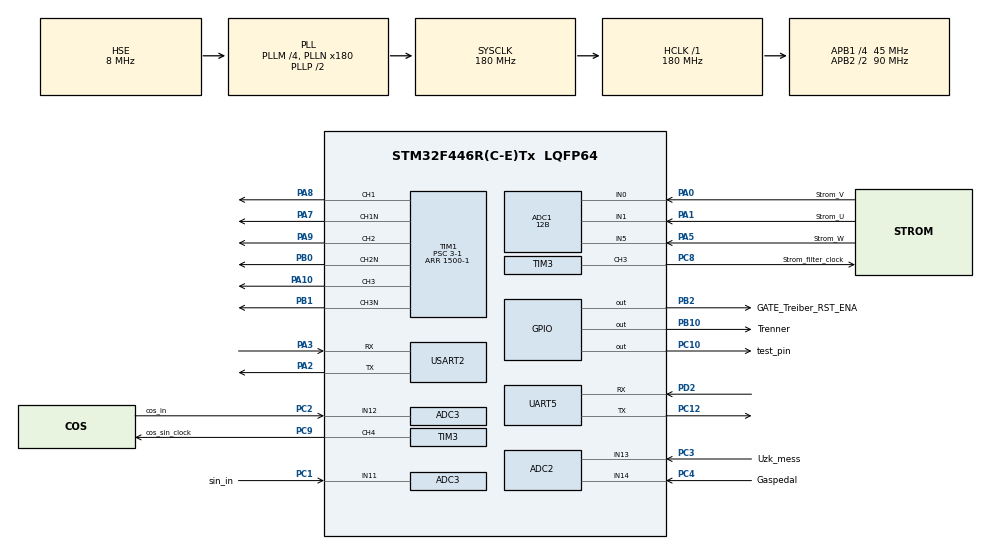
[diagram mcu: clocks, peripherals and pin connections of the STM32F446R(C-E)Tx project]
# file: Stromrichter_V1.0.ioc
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ADC1.Channel-0\#ChannelRegularConversion=ADC_CHANNEL_1
ADC1.Channel-1\#ChannelRegularConversion=ADC_CHANNEL_0
ADC1.Channel-2\#ChannelRegularConversion=ADC_CHANNEL_5
ADC1.ClockPrescaler=ADC_CLOCK_SYNC_PCLK_DIV4
ADC1.EOCSelection=ADC_EOC_SEQ_CONV
ADC1.ExternalTrigConv=ADC_SOFTWARE_START
ADC1.NbrOfConversion=3
ADC1.NbrOfConversionFlag=1
ADC1.Rank-0\#ChannelRegularConversion=1
ADC1.Rank-1\#ChannelRegularConversion=2
ADC1.Rank-2\#ChannelRegularConversion=3
ADC1.Resolution=ADC_RESOLUTION_12B
ADC1.SamplingTime-0\#ChannelRegularConversion=ADC_SAMPLETIME_3CYCLES
ADC1.SamplingTime-1\#ChannelRegularConversion=ADC_SAMPLETIME_3CYCLES
ADC1.SamplingTime-2\#ChannelRegularConversion=ADC_SAMPLETIME_3CYCLES
ADC1.ScanConvMode=ENABLE
ADC1.master=1
ADC2.Channel-2\#ChannelRegularConversion=ADC_CHANNEL_13
ADC2.Channel-3\#ChannelRegularConversion=ADC_CHANNEL_14
ADC2.EOCSelection=ADC_EOC_SEQ_CONV
ADC2.NbrOfConversion=2
ADC2.NbrOfConversionFlag=1
ADC2.Rank-2\#ChannelRegularConversion=1
ADC2.Rank-3\#ChannelRegularConversion=2
ADC2.SamplingTime-2\#ChannelRegularConversion=ADC_SAMPLETIME_480CYCLES
ADC2.SamplingTime-3\#ChannelRegularConversion=ADC_SAMPLETIME_480CYCLES
ADC3.Channel-0\#ChannelRegularConversion=ADC_CHANNEL_11
ADC3.Channel-1\#ChannelRegularConversion=ADC_CHANNEL_12
ADC3.EOCSelection=ADC_EOC_SEQ_CONV
ADC3.NbrOfConversion=2
ADC3.NbrOfConversionFlag=1
ADC3.Rank-0\#ChannelRegularConversion=1
ADC3.Rank-1\#ChannelRegularConversion=2
ADC3.SamplingTime-0\#ChannelRegularConversion=ADC_SAMPLETIME_144CYCLES
ADC3.SamplingTime-1\#ChannelRegularConversion=ADC_SAMPLETIME_144CYCLES
ADC3.ScanConvMode=ENABLE
Dma.ADC1.0.Direction=DMA_PERIPH_TO_MEMORY
Dma.ADC1.0.FIFOMode=DMA_FIFOMODE_DISABLE
Dma.ADC1.0.Instance=DMA2_Stream0
Dma.ADC1.0.MemDataAlignment=DMA_MDATAALIGN_WORD
Dma.ADC1.0.MemInc=DMA_MINC_ENABLE
Dma.ADC1.0.Mode=DMA_NORMAL
Dma.ADC1.0.PeriphDataAlignment=DMA_PDATAALIGN_WORD
Dma.ADC1.0.PeriphInc=DMA_PINC_DISABLE
Dma.ADC1.0.Priority=DMA_PRIORITY_VERY_HIGH
Dma.ADC2.4.Direction=DMA_PERIPH_TO_MEMORY
Dma.ADC2.4.FIFOMode=DMA_FIFOMODE_DISABLE
Dma.ADC2.4.Instance=DMA2_Stream2
Dma.ADC2.4.MemDataAlignment=DMA_MDATAALIGN_WORD
Dma.ADC2.4.MemInc=DMA_MINC_ENABLE
Dma.ADC2.4.Mode=DMA_NORMAL
Dma.ADC2.4.PeriphDataAlignment=DMA_PDATAALIGN_WORD
Dma.ADC2.4.PeriphInc=DMA_PINC_DISABLE
Dma.ADC2.4.Priority=DMA_PRIORITY_LOW
Dma.ADC3.3.Direction=DMA_PERIPH_TO_MEMORY
Dma.ADC3.3.FIFOMode=DMA_FIFOMODE_DISABLE
Dma.ADC3.3.Instance=DMA2_Stream1
Dma.ADC3.3.MemDataAlignment=DMA_MDATAALIGN_WORD
Dma.ADC3.3.MemInc=DMA_MINC_ENABLE
Dma.ADC3.3.Mode=DMA_NORMAL
Dma.ADC3.3.PeriphDataAlignment=DMA_PDATAALIGN_WORD
Dma.ADC3.3.PeriphInc=DMA_PINC_DISABLE
Dma.ADC3.3.Priority=DMA_PRIORITY_LOW
Dma.Request0=ADC1
Dma.Request1=USART2_TX
Dma.Request2=USART2_RX
Dma.Request3=ADC3
Dma.Request4=ADC2
Dma.USART2_RX.2.Direction=DMA_PERIPH_TO_MEMORY
Dma.USART2_RX.2.FIFOMode=DMA_FIFOMODE_DISABLE
Dma.USART2_RX.2.Instance=DMA1_Stream5
Dma.USART2_RX.2.MemDataAlignment=DMA_MDATAALIGN_BYTE
Dma.USART2_RX.2.MemInc=DMA_MINC_ENABLE
Dma.USART2_RX.2.Mode=DMA_CIRCULAR
Dma.USART2_RX.2.PeriphDataAlignment=DMA_PDATAALIGN_BYTE
Dma.USART2_RX.2.PeriphInc=DMA_PINC_DISABLE
Dma.USART2_RX.2.Priority=DMA_PRIORITY_LOW
Dma.USART2_TX.1.Direction=DMA_MEMORY_TO_PERIPH
Dma.USART2_TX.1.FIFOMode=DMA_FIFOMODE_DISABLE
Dma.USART2_TX.1.Instance=DMA1_Stream6
Dma.USART2_TX.1.MemDataAlignment=DMA_MDATAALIGN_BYTE
Dma.USART2_TX.1.MemInc=DMA_MINC_ENABLE
Dma.USART2_TX.1.Mode=DMA_NORMAL
Dma.USART2_TX.1.PeriphDataAlignment=DMA_PDATAALIGN_BYTE
Dma.USART2_TX.1.PeriphInc=DMA_PINC_DISABLE
Dma.USART2_TX.1.Priority=DMA_PRIORITY_LOW
Mcu.Family=STM32F4
Mcu.Name=STM32F446R(C-E)Tx
Mcu.Package=LQFP64
NVIC.ADC_IRQn=true\:0\:0\:false\:false\:true\:true\:true\:true
NVIC.DMA1_Stream5_IRQn=true\:0\:0\:false\:false\:true\:false\:true\:true
NVIC.DMA1_Stream6_IRQn=true\:0\:0\:false\:false\:true\:false\:true\:true
NVIC.DMA2_Stream0_IRQn=true\:0\:0\:true\:false\:true\:false\:true\:true
NVIC.DMA2_Stream1_IRQn=true\:0\:0\:false\:false\:true\:false\:true\:true
NVIC.DMA2_Stream2_IRQn=true\:0\:0\:false\:false\:true\:false\:true\:true
NVIC.PriorityGroup=NVIC_PRIORITYGROUP_4
NVIC.TIM1_UP_TIM10_IRQn=true\:0\:0\:true\:false\:true\:true\:true\:true
NVIC.TIM8_TRG_COM_TIM14_IRQn=true\:3\:0\:true\:false\:true\:true\:true\:true
NVIC.USART2_IRQn=true\:2\:0\:true\:false\:true\:true\:true\:true
PA0-WKUP.GPIO_Label=Strom_V
PA0-WKUP.Signal=ADCx_IN0
PA1.GPIO_Label=Strom_U
PA1.Signal=ADCx_IN1
PA10.Signal=S_TIM1_CH3
PA2.Mode=Asynchronous
PA2.Signal=USART2_TX
PA3.Mode=Asynchronous
PA3.Signal=USART2_RX
PA5.GPIO_Label=Strom_W
PA5.Signal=ADCx_IN5
PA7.Mode=PWM Generation1 CH1 CH1N
PA7.Signal=TIM1_CH1N
PA8.Signal=S_TIM1_CH1
PA9.Signal=S_TIM1_CH2
PB0.Mode=PWM Generation2 CH2 CH2N
PB0.Signal=TIM1_CH2N
PB1.Mode=PWM Generation3 CH3 CH3N
PB1.Signal=TIM1_CH3N
PB10.GPIO_Label=Trenner
PB10.Signal=GPIO_Output
PB2.GPIO_Label=GATE_Treiber_RST_ENA
PB2.Signal=GPIO_Output
PC1.GPIO_Label=sin_in
PC1.Signal=ADCx_IN11
PC10.GPIO_Label=test_pin
PC10.Signal=GPIO_Output
PC12.Mode=Asynchronous
PC12.Signal=UART5_TX
PC2.GPIO_Label=cos_in
PC2.Signal=ADCx_IN12
PC3.GPIO_Label=Uzk_mess
PC3.Signal=ADCx_IN13
PC4.GPIO_Label=Gaspedal
PC4.Signal=ADCx_IN14
PC8.GPIO_Label=Strom_filter_clock
PC8.Signal=S_TIM3_CH3
PC9.GPIO_Label=cos_sin_clock
PC9.Signal=S_TIM3_CH4
PD2.Mode=Asynchronous
PD2.Signal=UART5_RX
PH0-OSC_IN.Mode=HSE-External-Oscillator
PH0-OSC_IN.Signal=RCC_OSC_IN
PH1-OSC_OUT.Mode=HSE-External-Oscillator
PH1-OSC_OUT.Signal=RCC_OSC_OUT
ProjectManager.HeapSize=0x200
ProjectManager.StackSize=0x400
ProjectManager.TargetToolchain=STM32CubeIDE
RCC.AHBFreq_Value=180000000
RCC.APB1CLKDivider=RCC_HCLK_DIV4
RCC.APB1Freq_Value=45000000
RCC.APB1TimFreq_Value=90000000
RCC.APB2CLKDivider=RCC_HCLK_DIV2
RCC.APB2Freq_Value=90000000
RCC.APB2TimFreq_Value=180000000
RCC.CortexFreq_Value=180000000
RCC.HCLKFreq_Value=180000000
RCC.HSE_VALUE=8000000
RCC.PLLM=4
RCC.PLLN=180
RCC.PLLSourceVirtual=RCC_PLLSOURCE_HSE
RCC.SYSCLKFreq_VALUE=180000000
RCC.SYSCLKSource=RCC_SYSCLKSOURCE_PLLCLK
RCC.USBFreq_Value=180000000
RCC.VCOOutputFreq_Value=360000000
SH.ADCx_IN0.0=ADC1_IN0,IN0
SH.ADCx_IN1.0=ADC1_IN1,IN1
SH.ADCx_IN11.0=ADC2_IN11
SH.ADCx_IN11.1=ADC3_IN11,IN11
SH.ADCx_IN12.0=ADC2_IN12
SH.ADCx_IN12.1=ADC3_IN12,IN12
SH.ADCx_IN13.0=ADC2_IN13,IN13
SH.ADCx_IN14.0=ADC2_IN14,IN14
SH.ADCx_IN5.0=ADC1_IN5,IN5
SH.S_TIM1_CH1.0=TIM1_CH1,PWM Generation1 CH1 CH1N
SH.S_TIM1_CH2.0=TIM1_CH2,PWM Generation2 CH2 CH2N
SH.S_TIM1_CH3.0=TIM1_CH3,PWM Generation3 CH3 CH3N
SH.S_TIM3_CH3.0=TIM3_CH3,PWM Generation3 CH3
SH.S_TIM3_CH4.0=TIM3_CH4,PWM Generation4 CH4
TIM1.Channel-PWM\ Generation1\ CH1\ CH1N=TIM_CHANNEL_1
TIM1.Channel-PWM\ Generation2\ CH2\ CH2N=TIM_CHANNEL_2
TIM1.Channel-PWM\ Generation3\ CH3\ CH3N=TIM_CHANNEL_3
TIM1.CounterMode=TIM_COUNTERMODE_CENTERALIGNED1
TIM1.DeadTime=210
TIM1.Period=1500-1
TIM1.Prescaler=3-1
TIM1.RepetitionCounter=1
TIM14.Period=2500-1
TIM14.Prescaler=1800-1
TIM3.Channel-PWM\ Generation3\ CH3=TIM_CHANNEL_3
TIM3.Channel-PWM\ Generation4\ CH4=TIM_CHANNEL_4
TIM3.Period=30-1
TIM3.Prescaler=3-1
TIM3.Pulse-PWM\ Generation3\ CH3=10-1
TIM3.Pulse-PWM\ Generation4\ CH4=10-1
UART5.VirtualMode=Asynchronous
USART2.VirtualMode=VM_ASYNC
VP_TIM14_VS_ClockSourceINT.Mode=Enable_Timer
VP_TIM1_VS_ClockSourceINT.Mode=Internal
VP_TIM3_VS_ClockSourceINT.Mode=Internal
board=custom

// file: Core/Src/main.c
/* USER CODE BEGIN Header */
/**
  ******************************************************************************
  * @file           : main.c
  * @brief          : Main program body
  ******************************************************************************
  * @attention
  *
  * Copyright (c) 2023 STMicroelectronics.
  * All rights reserved.
  *
  * This software is licensed under terms that can be found in the LICENSE file
  * in the root directory of this software component.
  * If no LICENSE file comes with this software, it is provided AS-IS.
  *
  ******************************************************************************
  */
/* USER CODE END Header */
#include "main.h"

/* USER CODE BEGIN Includes */
#include "math.h"
  //####################################################################################################
//hier werden alle variablen für die strommesung um den adc1 intialisiert
#include "adc1_var_init.h"
  //####################################################################################################
//hier werden alle variablen für den Endcoder um den adc3 intialisiert
#include "adc3_endcoder_var.h"

  //####################################################################################################
//THIPWM libary
#include "THIPWM/THIPWM.h"
  //####################################################################################################
//importiere regulungstechnik lib
#include "Regelungstechnik_lib/Regelungstechnik.h"
  //####################################################################################################
//importiere transfarmationen
#include "Clark_Transformation/Clark_Transformation.h"
  //####################################################################################################
#include "regler_transformationen_var.h"
  //####################################################################################################
// hier werden alle variablen die für die Kommunikation mit dem PC benötigt werden definiert
#include "uart2_var_init.h"

/* USER CODE END Includes */

ADC_HandleTypeDef hadc1;
ADC_HandleTypeDef hadc2;
ADC_HandleTypeDef hadc3;
DMA_HandleTypeDef hdma_adc1;
DMA_HandleTypeDef hdma_adc2;
DMA_HandleTypeDef hdma_adc3;

TIM_HandleTypeDef htim1;
TIM_HandleTypeDef htim3;
TIM_HandleTypeDef htim14;

UART_HandleTypeDef huart5;
UART_HandleTypeDef huart2;
DMA_HandleTypeDef hdma_usart2_tx;
DMA_HandleTypeDef hdma_usart2_rx;

void SystemClock_Config(void);
static void MX_GPIO_Init(void);
static void MX_DMA_Init(void);
static void MX_ADC1_Init(void);
static void MX_TIM1_Init(void);
static void MX_UART5_Init(void);
static void MX_USART2_UART_Init(void);
static void MX_TIM3_Init(void);
static void MX_ADC3_Init(void);
static void MX_ADC2_Init(void);
static void MX_TIM14_Init(void);

int main(void)
{

  /* MCU Configuration--------------------------------------------------------*/

  /* Reset of all peripherals, Initializes the Flash interface and the Systick. */
  HAL_Init();

  /* Configure the system clock */
  SystemClock_Config();

  /* Initialize all configured peripherals */
  MX_GPIO_Init();
  MX_DMA_Init();
  MX_ADC1_Init();
  MX_ADC3_Init();
  MX_ADC2_Init();
  MX_TIM1_Init();
  MX_UART5_Init();
  MX_USART2_UART_Init();
  MX_TIM3_Init();

  MX_TIM14_Init();
  /* USER CODE BEGIN 2 */
  //####################################################################################################
  //THIPWM init
  setupTHIMPWM(pwm_periode, &THIPWM);
  //####################################################################################################
  //transformationen init
  init_clark(&Clark);
  //####################################################################################################
  //Regler init
  config_PID(&Regler_alpha, Kr, T_pwm, Tn, Tv);
  config_PID(&Regler_beta, Kr, T_pwm, Tn, Tv);
  config_PDT1(&filter_alpha, T_pwm, T1_PDT1, T2_PDT1, 1.0f);
  config_PDT1(&filter_beta, T_pwm, T1_PDT1, T2_PDT1, 1.0f);

  //####################################################################################################
  config_PT1(&offset_corrc_U, PT1_offset_K, PT1_offset_T);
  config_PT1(&offset_corrc_V, PT1_offset_K, PT1_offset_T);
  config_PT1(&offset_corrc_W, PT1_offset_K, PT1_offset_T);
  config_didt_p(&di_dt_schutz, di_dt_max);

  config_PT1(&theta_is_filter, 1, 0.1f);
  //####################################################################################################
  //Starten aller timer Channels für die PWM
  //####################################################################################################
  HAL_TIM_PWM_Start(&htim1, TIM_CHANNEL_1);
  HAL_TIM_PWM_Start(&htim1, TIM_CHANNEL_2);
  HAL_TIM_PWM_Start(&htim1, TIM_CHANNEL_3);
  HAL_TIMEx_PWMN_Start(&htim1, TIM_CHANNEL_1);
  HAL_TIMEx_PWMN_Start(&htim1, TIM_CHANNEL_2);
  HAL_TIMEx_PWMN_Start(&htim1, TIM_CHANNEL_3);
  HAL_TIM_Base_Start_IT(&htim1);

  config_PT1(&omega_filter, 1, 0.1f);

  /* USER CODE END 2 */

  /* Infinite loop */
  /* USER CODE BEGIN WHILE */
  while (1)
  {
	  enable = (0x1 & status) & !di_dt_schutz.error;
	  trenner = status>>1 & 0x1;

	  HAL_GPIO_WritePin(Trenner_GPIO_Port, Trenner_Pin, trenner);
	  HAL_GPIO_WritePin(GATE_Treiber_RST_ENA_GPIO_Port, GATE_Treiber_RST_ENA_Pin, enable);

	  if(di_dt_schutz.error && !(0x1 & status)){
		  di_dt_schutz.error=0;
	  }

    /* USER CODE END WHILE */

  }
}

void SystemClock_Config(void)
{
  RCC_OscInitTypeDef RCC_OscInitStruct = {0};
  RCC_ClkInitTypeDef RCC_ClkInitStruct = {0};

  /** Configure the main internal regulator output voltage
  */
  __HAL_RCC_PWR_CLK_ENABLE();
  __HAL_PWR_VOLTAGESCALING_CONFIG(PWR_REGULATOR_VOLTAGE_SCALE1);

  /** Initializes the RCC Oscillators according to the specified parameters
  * in the RCC_OscInitTypeDef structure.
  */
  RCC_OscInitStruct.OscillatorType = RCC_OSCILLATORTYPE_HSE;
  RCC_OscInitStruct.HSEState = RCC_HSE_ON;
  RCC_OscInitStruct.PLL.PLLState = RCC_PLL_ON;
  RCC_OscInitStruct.PLL.PLLSource = RCC_PLLSOURCE_HSE;
  RCC_OscInitStruct.PLL.PLLM = 4;
  RCC_OscInitStruct.PLL.PLLN = 180;
  RCC_OscInitStruct.PLL.PLLP = RCC_PLLP_DIV2;
  RCC_OscInitStruct.PLL.PLLQ = 2;
  RCC_OscInitStruct.PLL.PLLR = 2;
  if (HAL_RCC_OscConfig(&RCC_OscInitStruct) != HAL_OK)
  {
    Error_Handler();
  }

  /** Activate the Over-Drive mode
  */
  if (HAL_PWREx_EnableOverDrive() != HAL_OK)
  {
    Error_Handler();
  }

  /** Initializes the CPU, AHB and APB buses clocks
  */
  RCC_ClkInitStruct.ClockType = RCC_CLOCKTYPE_HCLK|RCC_CLOCKTYPE_SYSCLK
                              |RCC_CLOCKTYPE_PCLK1|RCC_CLOCKTYPE_PCLK2;
  RCC_ClkInitStruct.SYSCLKSource = RCC_SYSCLKSOURCE_PLLCLK;
  RCC_ClkInitStruct.AHBCLKDivider = RCC_SYSCLK_DIV1;
  RCC_ClkInitStruct.APB1CLKDivider = RCC_HCLK_DIV4;
  RCC_ClkInitStruct.APB2CLKDivider = RCC_HCLK_DIV2;

  if (HAL_RCC_ClockConfig(&RCC_ClkInitStruct, FLASH_LATENCY_5) != HAL_OK)
  {
    Error_Handler();
  }
}

static void MX_ADC1_Init(void)
{

  ADC_ChannelConfTypeDef sConfig = {0};

  /* USER CODE BEGIN ADC1_Init 1 */
  //####################################################################################################
  //ADC NUR für die Strommessung U V W
  //####################################################################################################
  /* USER CODE END ADC1_Init 1 */

  /** Configure the global features of the ADC (Clock, Resolution, Data Alignment and number of conversion)
  */
  hadc1.Instance = ADC1;
  hadc1.Init.ClockPrescaler = ADC_CLOCK_SYNC_PCLK_DIV4;
  hadc1.Init.Resolution = ADC_RESOLUTION_12B;
  hadc1.Init.ScanConvMode = ENABLE;
  hadc1.Init.ContinuousConvMode = DISABLE;
  hadc1.Init.DiscontinuousConvMode = DISABLE;
  hadc1.Init.ExternalTrigConvEdge = ADC_EXTERNALTRIGCONVEDGE_NONE;
  hadc1.Init.ExternalTrigConv = ADC_SOFTWARE_START;
  hadc1.Init.DataAlign = ADC_DATAALIGN_RIGHT;
  hadc1.Init.NbrOfConversion = 3;
  hadc1.Init.DMAContinuousRequests = DISABLE;
  hadc1.Init.EOCSelection = ADC_EOC_SEQ_CONV;
  if (HAL_ADC_Init(&hadc1) != HAL_OK)
  {
    Error_Handler();
  }

  /** Configure for the selected ADC regular channel its corresponding rank in the sequencer and its sample time.
  */
  sConfig.Channel = ADC_CHANNEL_1;
  sConfig.Rank = 1;
  sConfig.SamplingTime = ADC_SAMPLETIME_3CYCLES;
  if (HAL_ADC_ConfigChannel(&hadc1, &sConfig) != HAL_OK)
  {
    Error_Handler();
  }

  /** Configure for the selected ADC regular channel its corresponding rank in the sequencer and its sample time.
  */
  sConfig.Channel = ADC_CHANNEL_0;
  sConfig.Rank = 2;
  if (HAL_ADC_ConfigChannel(&hadc1, &sConfig) != HAL_OK)
  {
    Error_Handler();
  }

  /** Configure for the selected ADC regular channel its corresponding rank in the sequencer and its sample time.
  */
  sConfig.Channel = ADC_CHANNEL_5;
  sConfig.Rank = 3;
  if (HAL_ADC_ConfigChannel(&hadc1, &sConfig) != HAL_OK)
  {
    Error_Handler();
  }

}

static void MX_ADC2_Init(void)
{

  ADC_ChannelConfTypeDef sConfig = {0};

  /** Configure the global features of the ADC (Clock, Resolution, Data Alignment and number of conversion)
  */
  hadc2.Instance = ADC2;
  hadc2.Init.ClockPrescaler = ADC_CLOCK_SYNC_PCLK_DIV4;
  hadc2.Init.Resolution = ADC_RESOLUTION_12B;
  hadc2.Init.ScanConvMode = ENABLE;
  hadc2.Init.ContinuousConvMode = DISABLE;
  hadc2.Init.DiscontinuousConvMode = DISABLE;
  hadc2.Init.ExternalTrigConvEdge = ADC_EXTERNALTRIGCONVEDGE_NONE;
  hadc2.Init.ExternalTrigConv = ADC_SOFTWARE_START;
  hadc2.Init.DataAlign = ADC_DATAALIGN_RIGHT;
  hadc2.Init.NbrOfConversion = 2;
  hadc2.Init.DMAContinuousRequests = DISABLE;
  hadc2.Init.EOCSelection = ADC_EOC_SEQ_CONV;
  if (HAL_ADC_Init(&hadc2) != HAL_OK)
  {
    Error_Handler();
  }

  /** Configure for the selected ADC regular channel its corresponding rank in the sequencer and its sample time.
  */
  sConfig.Channel = ADC_CHANNEL_13;
  sConfig.Rank = 1;
  sConfig.SamplingTime = ADC_SAMPLETIME_480CYCLES;
  if (HAL_ADC_ConfigChannel(&hadc2, &sConfig) != HAL_OK)
  {
    Error_Handler();
  }

  /** Configure for the selected ADC regular channel its corresponding rank in the sequencer and its sample time.
  */
  sConfig.Channel = ADC_CHANNEL_14;
  sConfig.Rank = 2;
  if (HAL_ADC_ConfigChannel(&hadc2, &sConfig) != HAL_OK)
  {
    Error_Handler();
  }

}

static void MX_ADC3_Init(void)
{

  ADC_ChannelConfTypeDef sConfig = {0};

  /** Configure the global features of the ADC (Clock, Resolution, Data Alignment and number of conversion)
  */
  hadc3.Instance = ADC3;
  hadc3.Init.ClockPrescaler = ADC_CLOCK_SYNC_PCLK_DIV4;
  hadc3.Init.Resolution = ADC_RESOLUTION_12B;
  hadc3.Init.ScanConvMode = ENABLE;
  hadc3.Init.ContinuousConvMode = DISABLE;
  hadc3.Init.DiscontinuousConvMode = DISABLE;
  hadc3.Init.ExternalTrigConvEdge = ADC_EXTERNALTRIGCONVEDGE_NONE;
  hadc3.Init.ExternalTrigConv = ADC_SOFTWARE_START;
  hadc3.Init.DataAlign = ADC_DATAALIGN_RIGHT;
  hadc3.Init.NbrOfConversion = 2;
  hadc3.Init.DMAContinuousRequests = DISABLE;
  hadc3.Init.EOCSelection = ADC_EOC_SEQ_CONV;
  if (HAL_ADC_Init(&hadc3) != HAL_OK)
  {
    Error_Handler();
  }

  /** Configure for the selected ADC regular channel its corresponding rank in the sequencer and its sample time.
  */
  sConfig.Channel = ADC_CHANNEL_11;
  sConfig.Rank = 1;
  sConfig.SamplingTime = ADC_SAMPLETIME_144CYCLES;
  if (HAL_ADC_ConfigChannel(&hadc3, &sConfig) != HAL_OK)
  {
    Error_Handler();
  }

  /** Configure for the selected ADC regular channel its corresponding rank in the sequencer and its sample time.
  */
  sConfig.Channel = ADC_CHANNEL_12;
  sConfig.Rank = 2;
  if (HAL_ADC_ConfigChannel(&hadc3, &sConfig) != HAL_OK)
  {
    Error_Handler();
  }

}

static void MX_TIM1_Init(void)
{

  TIM_ClockConfigTypeDef sClockSourceConfig = {0};
  TIM_MasterConfigTypeDef sMasterConfig = {0};
  TIM_OC_InitTypeDef sConfigOC = {0};
  TIM_BreakDeadTimeConfigTypeDef sBreakDeadTimeConfig = {0};

  /* USER CODE BEGIN TIM1_Init 1 */
  //####################################################################################################
  //Timer für Die PWM mit einer Frequenz von 10 kHz und einer Deahtime von 2 us
  //####################################################################################################
  /* USER CODE END TIM1_Init 1 */
  htim1.Instance = TIM1;
  htim1.Init.Prescaler = 3-1;
  htim1.Init.CounterMode = TIM_COUNTERMODE_CENTERALIGNED1;
  htim1.Init.Period = 1500-1;
  htim1.Init.ClockDivision = TIM_CLOCKDIVISION_DIV1;
  htim1.Init.RepetitionCounter = 1;
  htim1.Init.AutoReloadPreload = TIM_AUTORELOAD_PRELOAD_DISABLE;
  if (HAL_TIM_Base_Init(&htim1) != HAL_OK)
  {
    Error_Handler();
  }
  sClockSourceConfig.ClockSource = TIM_CLOCKSOURCE_INTERNAL;
  if (HAL_TIM_ConfigClockSource(&htim1, &sClockSourceConfig) != HAL_OK)
  {
    Error_Handler();
  }
  if (HAL_TIM_PWM_Init(&htim1) != HAL_OK)
  {
    Error_Handler();
  }
  sMasterConfig.MasterOutputTrigger = TIM_TRGO_RESET;
  sMasterConfig.MasterSlaveMode = TIM_MASTERSLAVEMODE_DISABLE;
  if (HAL_TIMEx_MasterConfigSynchronization(&htim1, &sMasterConfig) != HAL_OK)
  {
    Error_Handler();
  }
  sConfigOC.OCMode = TIM_OCMODE_PWM1;
  sConfigOC.Pulse = 0;
  sConfigOC.OCPolarity = TIM_OCPOLARITY_HIGH;
  sConfigOC.OCNPolarity = TIM_OCNPOLARITY_HIGH;
  sConfigOC.OCFastMode = TIM_OCFAST_DISABLE;
  sConfigOC.OCIdleState = TIM_OCIDLESTATE_RESET;
  sConfigOC.OCNIdleState = TIM_OCNIDLESTATE_RESET;
  if (HAL_TIM_PWM_ConfigChannel(&htim1, &sConfigOC, TIM_CHANNEL_1) != HAL_OK)
  {
    Error_Handler();
  }
  if (HAL_TIM_PWM_ConfigChannel(&htim1, &sConfigOC, TIM_CHANNEL_2) != HAL_OK)
  {
    Error_Handler();
  }
  if (HAL_TIM_PWM_ConfigChannel(&htim1, &sConfigOC, TIM_CHANNEL_3) != HAL_OK)
  {
    Error_Handler();
  }
  sBreakDeadTimeConfig.OffStateRunMode = TIM_OSSR_DISABLE;
  sBreakDeadTimeConfig.OffStateIDLEMode = TIM_OSSI_DISABLE;
  sBreakDeadTimeConfig.LockLevel = TIM_LOCKLEVEL_OFF;
  sBreakDeadTimeConfig.DeadTime = 210;
  sBreakDeadTimeConfig.BreakState = TIM_BREAK_DISABLE;
  sBreakDeadTimeConfig.BreakPolarity = TIM_BREAKPOLARITY_HIGH;
  sBreakDeadTimeConfig.AutomaticOutput = TIM_AUTOMATICOUTPUT_DISABLE;
  if (HAL_TIMEx_ConfigBreakDeadTime(&htim1, &sBreakDeadTimeConfig) != HAL_OK)
  {
    Error_Handler();
  }
  /* USER CODE BEGIN TIM1_Init 2 */
  //####################################################################################################
  /* USER CODE END TIM1_Init 2 */
  HAL_TIM_MspPostInit(&htim1);

}

static void MX_TIM3_Init(void)
{

  TIM_ClockConfigTypeDef sClockSourceConfig = {0};
  TIM_MasterConfigTypeDef sMasterConfig = {0};
  TIM_OC_InitTypeDef sConfigOC = {0};

  /* USER CODE BEGIN TIM3_Init 1 */
  //####################################################################################################
  //Timer der den Takt vorgibt für die Analog filter von der Strommessung und endcoder
  //eine Frequenz von 100kHz
  //####################################################################################################
  /* USER CODE END TIM3_Init 1 */
  htim3.Instance = TIM3;
  htim3.Init.Prescaler = 3-1;
  htim3.Init.CounterMode = TIM_COUNTERMODE_UP;
  htim3.Init.Period = 30-1;
  htim3.Init.ClockDivision = TIM_CLOCKDIVISION_DIV1;
  htim3.Init.AutoReloadPreload = TIM_AUTORELOAD_PRELOAD_DISABLE;
  if (HAL_TIM_Base_Init(&htim3) != HAL_OK)
  {
    Error_Handler();
  }
  sClockSourceConfig.ClockSource = TIM_CLOCKSOURCE_INTERNAL;
  if (HAL_TIM_ConfigClockSource(&htim3, &sClockSourceConfig) != HAL_OK)
  {
    Error_Handler();
  }
  if (HAL_TIM_PWM_Init(&htim3) != HAL_OK)
  {
    Error_Handler();
  }
  sMasterConfig.MasterOutputTrigger = TIM_TRGO_RESET;
  sMasterConfig.MasterSlaveMode = TIM_MASTERSLAVEMODE_DISABLE;
  if (HAL_TIMEx_MasterConfigSynchronization(&htim3, &sMasterConfig) != HAL_OK)
  {
    Error_Handler();
  }
  sConfigOC.OCMode = TIM_OCMODE_PWM1;
  sConfigOC.Pulse = 10-1;
  sConfigOC.OCPolarity = TIM_OCPOLARITY_HIGH;
  sConfigOC.OCFastMode = TIM_OCFAST_DISABLE;
  if (HAL_TIM_PWM_ConfigChannel(&htim3, &sConfigOC, TIM_CHANNEL_3) != HAL_OK)
  {
    Error_Handler();
  }
  if (HAL_TIM_PWM_ConfigChannel(&htim3, &sConfigOC, TIM_CHANNEL_4) != HAL_OK)
  {
    Error_Handler();
  }
  /* USER CODE BEGIN TIM3_Init 2 */
  HAL_TIM_PWM_Start(&htim3, TIM_CHANNEL_3);
  HAL_TIM_PWM_Start(&htim3, TIM_CHANNEL_4);

  /* USER CODE END TIM3_Init 2 */
  HAL_TIM_MspPostInit(&htim3);

}

static void MX_TIM14_Init(void)
{

  htim14.Instance = TIM14;
  htim14.Init.Prescaler = 1800-1;
  htim14.Init.CounterMode = TIM_COUNTERMODE_UP;
  htim14.Init.Period = 2500-1;
  htim14.Init.ClockDivision = TIM_CLOCKDIVISION_DIV1;
  htim14.Init.AutoReloadPreload = TIM_AUTORELOAD_PRELOAD_DISABLE;
  if (HAL_TIM_Base_Init(&htim14) != HAL_OK)
  {
    Error_Handler();
  }
  /* USER CODE BEGIN TIM14_Init 2 */
  HAL_TIM_Base_Start_IT(&htim14);

  /* USER CODE END TIM14_Init 2 */

}

static void MX_UART5_Init(void)
{

  huart5.Instance = UART5;
  huart5.Init.BaudRate = 115200;
  huart5.Init.WordLength = UART_WORDLENGTH_8B;
  huart5.Init.StopBits = UART_STOPBITS_1;
  huart5.Init.Parity = UART_PARITY_NONE;
  huart5.Init.Mode = UART_MODE_TX_RX;
  huart5.Init.HwFlowCtl = UART_HWCONTROL_NONE;
  huart5.Init.OverSampling = UART_OVERSAMPLING_16;
  if (HAL_UART_Init(&huart5) != HAL_OK)
  {
    Error_Handler();
  }

}

static void MX_USART2_UART_Init(void)
{

  huart2.Instance = USART2;
  huart2.Init.BaudRate = 115200;
  huart2.Init.WordLength = UART_WORDLENGTH_8B;
  huart2.Init.StopBits = UART_STOPBITS_1;
  huart2.Init.Parity = UART_PARITY_NONE;
  huart2.Init.Mode = UART_MODE_TX_RX;
  huart2.Init.HwFlowCtl = UART_HWCONTROL_NONE;
  huart2.Init.OverSampling = UART_OVERSAMPLING_16;
  if (HAL_UART_Init(&huart2) != HAL_OK)
  {
    Error_Handler();
  }
  /* USER CODE BEGIN USART2_Init 2 */
  //####################################################################################################
  //starten des UART RX DMA übertragung
  HAL_UART_Receive_DMA(&huart2, uart2_rx_buffer, sizeof(uart2_rx_buffer));
  //####################################################################################################
  /* USER CODE END USART2_Init 2 */

}

static void MX_DMA_Init(void)
{

  /* DMA controller clock enable */
  __HAL_RCC_DMA2_CLK_ENABLE();
  __HAL_RCC_DMA1_CLK_ENABLE();

  /* DMA interrupt init */
  /* DMA1_Stream5_IRQn interrupt configuration */
  HAL_NVIC_SetPriority(DMA1_Stream5_IRQn, 0, 0);
  HAL_NVIC_EnableIRQ(DMA1_Stream5_IRQn);
  /* DMA1_Stream6_IRQn interrupt configuration */
  HAL_NVIC_SetPriority(DMA1_Stream6_IRQn, 0, 0);
  HAL_NVIC_EnableIRQ(DMA1_Stream6_IRQn);
  /* DMA2_Stream0_IRQn interrupt configuration */
  HAL_NVIC_SetPriority(DMA2_Stream0_IRQn, 0, 0);
  HAL_NVIC_EnableIRQ(DMA2_Stream0_IRQn);
  /* DMA2_Stream1_IRQn interrupt configuration */
  HAL_NVIC_SetPriority(DMA2_Stream1_IRQn, 0, 0);
  HAL_NVIC_EnableIRQ(DMA2_Stream1_IRQn);
  /* DMA2_Stream2_IRQn interrupt configuration */
  HAL_NVIC_SetPriority(DMA2_Stream2_IRQn, 0, 0);
  HAL_NVIC_EnableIRQ(DMA2_Stream2_IRQn);

}

static void MX_GPIO_Init(void)
{
  GPIO_InitTypeDef GPIO_InitStruct = {0};

  /* GPIO Ports Clock Enable */
  __HAL_RCC_GPIOH_CLK_ENABLE();
  __HAL_RCC_GPIOC_CLK_ENABLE();
  __HAL_RCC_GPIOA_CLK_ENABLE();
  __HAL_RCC_GPIOB_CLK_ENABLE();
  __HAL_RCC_GPIOD_CLK_ENABLE();

  /*Configure GPIO pin Output Level */
  HAL_GPIO_WritePin(GPIOB, GATE_Treiber_RST_ENA_Pin|Trenner_Pin, GPIO_PIN_RESET);

  /*Configure GPIO pin Output Level */
  HAL_GPIO_WritePin(test_pin_GPIO_Port, test_pin_Pin, GPIO_PIN_RESET);

  /*Configure GPIO pins : GATE_Treiber_RST_ENA_Pin Trenner_Pin */
  GPIO_InitStruct.Pin = GATE_Treiber_RST_ENA_Pin|Trenner_Pin;
  GPIO_InitStruct.Mode = GPIO_MODE_OUTPUT_PP;
  GPIO_InitStruct.Pull = GPIO_NOPULL;
  GPIO_InitStruct.Speed = GPIO_SPEED_FREQ_LOW;
  HAL_GPIO_Init(GPIOB, &GPIO_InitStruct);

  /*Configure GPIO pin : test_pin_Pin */
  GPIO_InitStruct.Pin = test_pin_Pin;
  GPIO_InitStruct.Mode = GPIO_MODE_OUTPUT_PP;
  GPIO_InitStruct.Pull = GPIO_NOPULL;
  GPIO_InitStruct.Speed = GPIO_SPEED_FREQ_LOW;
  HAL_GPIO_Init(test_pin_GPIO_Port, &GPIO_InitStruct);

}

/* USER CODE BEGIN 4 */
//####################################################################################################
//####################################################################################################

//####################################################################################################
//Interrupt von allen Timern

void HAL_TIM_PeriodElapsedCallback(TIM_HandleTypeDef *htim){
	  //####################################################################################################
	if (htim->Instance == TIM14) {
			HAL_GPIO_WritePin(test_pin_GPIO_Port, test_pin_Pin, 1);
	        //Interrupt für TIM10 UART transmit alle 50 ms
			uart2_tx_buffer[9]=status;
			//schreibt immer wieder andere Werte in den TX buffer und sendet diese
			senduart();
			HAL_UART_Transmit_DMA(&huart2, uart2_tx_buffer, sizeof(uart2_tx_buffer));
			//alle 50 ms wir gaspedal gemessen und Batterie SPG
			gas=clalc_gas(ADC2_gas_uzk[1]);
			uzk=clalc_uzk(ADC2_gas_uzk[0]);
			HAL_ADC_Start_DMA(&hadc2, ADC2_gas_uzk, 2);
			HAL_GPIO_WritePin(test_pin_GPIO_Port, test_pin_Pin, 0);
	    }
	  //####################################################################################################
	// Timer1 dieser timer ist für die PHASEN Pwm verantwortlich und startet die Strommessung

	if (htim->Instance == TIM1) {

		if((enable)){
					TIM1->CCR1=THIPWM.TIMCOMPA;
					TIM1->CCR2=THIPWM.TIMCOMPB;
					TIM1->CCR3=THIPWM.TIMCOMPC;
				}else{
					TIM1->CCR1=0;
					TIM1->CCR2=0;
					TIM1->CCR3=0;
				}

		  //####################################################################################################
		//starten eines neues Strommessungs taktes und endcoder messen
		HAL_ADC_Start_DMA(&hadc1, (uint32_t*) ADC1_Strom_UVW, 3);
		theta_is_soll=atan2f(-Park1.beta, Park1.alpha);
		theta_is_ist=atan2f(Clark.beta, Clark.alpha);
		theta_is_differenz=(theta_is_soll)-theta_is_ist;
		add_val_PT1(&theta_is_filter, theta_is_differenz, T_pwm);

	}

}
//####################################################################################################
//Interrupt von allen UARTS

void HAL_UART_RxCpltCallback(UART_HandleTypeDef *huart){

	if (huart->Instance == USART2){
		//Interrupt für neue 10 bytes vom computer
		//Diese befinden sich in uart2_rx_buffer
		status=uart2_rx_buffer[1];
	}

}

//####################################################################################################
void HAL_ADC_ConvCpltCallback(ADC_HandleTypeDef* hadc){

	//####################################################################################################
	//interrupt wenn die Strommessung abgeschlossen wurde
	if(hadc == &hadc1){
		//es wird geprüft ob die pwm enable ist wenn dies der fall ist wird Strom in
		//seinen Register geschrieben
		Strom_UVW_mit_offset[0]=((float)(ADC1_Strom_UVW[0]))/3.3f;
		Strom_UVW_mit_offset[1]=((float)(ADC1_Strom_UVW[1]))/3.3f;
		Strom_UVW_mit_offset[2]=((float)(ADC1_Strom_UVW[2]))/3.3f;

		if(status& 0x1){
			// hier wird der offset abgezogen und dann durch 10 dividiert 10 ADC einheiten
			//ist 1 Ampere

			Strom_UVW[0]=Strom_UVW_mit_offset[0]-offset_corrc_U.y;
			Strom_UVW[1]=Strom_UVW_mit_offset[1]-offset_corrc_V.y;
			Strom_UVW[2]=Strom_UVW_mit_offset[2]-offset_corrc_W.y;

			recalc_clark(&Clark, Strom_UVW[0], Strom_UVW[1], Strom_UVW[2]);
			check_di_dt(&di_dt_schutz, Clark.alpha, Clark.beta, T_pwm);

		}else{

			add_val_PT1(&offset_corrc_U, Strom_UVW_mit_offset[0], T_pwm);
			add_val_PT1(&offset_corrc_V, Strom_UVW_mit_offset[1], T_pwm);
			add_val_PT1(&offset_corrc_W, Strom_UVW_mit_offset[2], T_pwm);
		}

		HAL_ADC_Start_DMA(&hadc3, (uint32_t*) ADC3_Endcoder_sin_cos, 2);

	}
	if(hadc == &hadc3){
		Iq = 40.0f * gas;
		Id = 0.0f * gas;
		theta=calctheta(ADC3_Endcoder_sin_cos[0], ADC3_Endcoder_sin_cos[1]);

		omega_rotoe=omega(theta_is_soll, 50e-6f);

		theta += 0.81f;
		theta *= 4.0f;
		recalc_park(&Park1, Id, Iq, theta);
		float error_alpha = Park1.alpha - Clark.alpha;
		float error_beta = -Park1.beta - Clark.beta;
		add_val_PID(&Regler_alpha,error_alpha, THIPWM.alpha, enable);
		add_val_PID(&Regler_beta, error_beta,THIPWM.beta, enable);
		vectorrecalc(Regler_alpha.uk, Regler_beta.uk, 50.0f, &THIPWM);
	}

}

//####################################################################################################
/* USER CODE END 4 */

void Error_Handler(void)
{
  __disable_irq();
  while (1)
  {
  }
}
